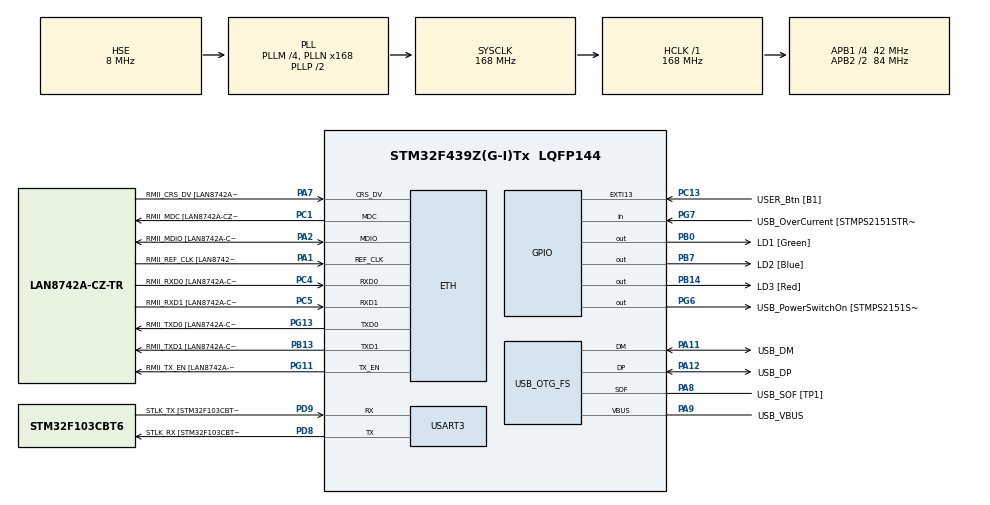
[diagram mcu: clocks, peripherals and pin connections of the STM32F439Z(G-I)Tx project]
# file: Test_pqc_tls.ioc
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ETH.MediaInterface=HAL_ETH_RMII_MODE
ETH.PHY_Name=LAN8742A_PHY_ADDRESS
ETH.PHY_Value=0
ETH.PhyAddress=0
FREERTOS.Tasks01=defaultTask,24,128,StartDefaultTask,Default,NULL,Dynamic,NULL,NULL;wolfCrypt,8,8960,wolfCryptDemo,As external,NULL,Dynamic,NULL,NULL
FREERTOS.configCHECK_FOR_STACK_OVERFLOW=2
FREERTOS.configTOTAL_HEAP_SIZE=120000
FREERTOS.configUSE_MALLOC_FAILED_HOOK=1
LWIP.LWIP_DHCP=1
LWIP.Version=v2.1.2_Cube
Mcu.Family=STM32F4
Mcu.Name=STM32F439Z(G-I)Tx
Mcu.Package=LQFP144
NVIC.ETH_IRQn=true\:5\:0\:false\:false\:true\:true\:false\:true\:true
NVIC.PriorityGroup=NVIC_PRIORITYGROUP_4
NVIC.TIM1_UP_TIM10_IRQn=true\:15\:0\:false\:false\:true\:false\:false\:true\:true
NVIC.TimeBase=TIM1_UP_TIM10_IRQn
NVIC.TimeBaseIP=TIM1
PA1.GPIO_Label=RMII_REF_CLK [LAN8742A-CZ-TR_REFCLK0]
PA1.Mode=RMII
PA1.Signal=ETH_REF_CLK
PA10.GPIO_Label=USB_ID
PA10.Signal=USB_OTG_FS_ID
PA11.GPIO_Label=USB_DM
PA11.Mode=Device_Only
PA11.Signal=USB_OTG_FS_DM
PA12.GPIO_Label=USB_DP
PA12.Mode=Device_Only
PA12.Signal=USB_OTG_FS_DP
PA13.GPIO_Label=TMS
PA13.Mode=Serial_Wire
PA13.Signal=SYS_JTMS-SWDIO
PA14.GPIO_Label=TCK
PA14.Mode=Serial_Wire
PA14.Signal=SYS_JTCK-SWCLK
PA2.GPIO_Label=RMII_MDIO [LAN8742A-CZ-TR_MDIO]
PA2.Mode=RMII
PA2.Signal=ETH_MDIO
PA7.GPIO_Label=RMII_CRS_DV [LAN8742A-CZ-TR_CRS_DV]
PA7.Mode=RMII
PA7.Signal=ETH_CRS_DV
PA8.GPIO_Label=USB_SOF [TP1]
PA8.Mode=Activate_SOF_FS
PA8.Signal=USB_OTG_FS_SOF
PA9.GPIO_Label=USB_VBUS
PA9.Mode=Activate_VBUS
PA9.Signal=USB_OTG_FS_VBUS
PB0.GPIO_Label=LD1 [Green]
PB0.Signal=GPIO_Output
PB13.GPIO_Label=RMII_TXD1 [LAN8742A-CZ-TR_TXD1]
PB13.Mode=RMII
PB13.Signal=ETH_TXD1
PB14.GPIO_Label=LD3 [Red]
PB14.Signal=GPIO_Output
PB7.GPIO_Label=LD2 [Blue]
PB7.Signal=GPIO_Output
PC1.GPIO_Label=RMII_MDC [LAN8742A-CZ-TR_MDC]
PC1.Mode=RMII
PC1.Signal=ETH_MDC
PC13.GPIO_Label=USER_Btn [B1]
PC13.Signal=GPXTI13
PC14/OSC32_IN.Mode=LSE-External-Oscillator
PC14/OSC32_IN.Signal=RCC_OSC32_IN
PC15/OSC32_OUT.Mode=LSE-External-Oscillator
PC15/OSC32_OUT.Signal=RCC_OSC32_OUT
PC4.GPIO_Label=RMII_RXD0 [LAN8742A-CZ-TR_RXD0]
PC4.Mode=RMII
PC4.Signal=ETH_RXD0
PC5.GPIO_Label=RMII_RXD1 [LAN8742A-CZ-TR_RXD1]
PC5.Mode=RMII
PC5.Signal=ETH_RXD1
PD8.GPIO_Label=STLK_RX [STM32F103CBT6_PA3]
PD8.Mode=Asynchronous
PD8.Signal=USART3_TX
PD9.GPIO_Label=STLK_TX [STM32F103CBT6_PA2]
PD9.Mode=Asynchronous
PD9.Signal=USART3_RX
PG11.GPIO_Label=RMII_TX_EN [LAN8742A-CZ-TR_TXEN]
PG11.Mode=RMII
PG11.Signal=ETH_TX_EN
PG13.GPIO_Label=RMII_TXD0 [LAN8742A-CZ-TR_TXD0]
PG13.Mode=RMII
PG13.Signal=ETH_TXD0
PG6.GPIO_Label=USB_PowerSwitchOn [STMPS2151STR_EN]
PG6.Signal=GPIO_Output
PG7.GPIO_Label=USB_OverCurrent [STMPS2151STR_FAULT]
PG7.Signal=GPIO_Input
PH0/OSC_IN.GPIO_Label=MCO [STM32F103CBT6_PA8]
PH0/OSC_IN.Mode=HSE-External-Clock-Source
PH0/OSC_IN.Signal=RCC_OSC_IN
PH1/OSC_OUT.Mode=HSE-External-Clock-Source
PH1/OSC_OUT.Signal=RCC_OSC_OUT
ProjectManager.HeapSize=0x200
ProjectManager.StackSize=0x400
ProjectManager.TargetToolchain=CMake
RCC.48MHZClocksFreq_Value=48000000
RCC.AHBFreq_Value=168000000
RCC.APB1CLKDivider=RCC_HCLK_DIV4
RCC.APB1Freq_Value=42000000
RCC.APB1TimFreq_Value=84000000
RCC.APB2CLKDivider=RCC_HCLK_DIV2
RCC.APB2Freq_Value=84000000
RCC.APB2TimFreq_Value=168000000
RCC.CortexFreq_Value=168000000
RCC.HCLKFreq_Value=168000000
RCC.HSE_VALUE=8000000
RCC.HSI_VALUE=16000000
RCC.PLLM=4
RCC.PLLMUL=RCC_PLL_MUL9
RCC.PLLN=168
RCC.PLLQ=7
RCC.PRESCALERUSB=RCC_USBCLKSOURCE_PLL_DIV1_5
RCC.SYSCLKFreq_VALUE=168000000
RCC.SYSCLKSource=RCC_SYSCLKSOURCE_PLLCLK
RCC.SYSCLKSourceVirtual=RCC_SYSCLKSOURCE_PLLCLK
RCC.USBFreq_Value=48000000
RCC.VCOOutputFreq_Value=336000000
USART3.VirtualMode=VM_ASYNC
USB_OTG_FS.VirtualMode=Device_Only
VP_CRYP_VS_CRYP.Mode=CRYP_Activate
VP_FREERTOS_VS_CMSIS_V2.Mode=CMSIS_V2
VP_HASH_VS_HASH.Mode=HASH_Activate
VP_LWIP_VS_Enabled.Mode=Enabled
VP_RNG_VS_RNG.Mode=RNG_Activate
VP_RTC_VS_RTC_Activate.Mode=RTC_Enabled
VP_SYS_VS_tim1.Mode=TIM1
VP_wolfSSL.I-CUBE-wolfSSL_VS_wolfSSLJjwolfSSL_5.8.4_5.8.4.Mode=wolfSSLJjwolfSSL
board=NUCLEO-F439ZI
wolfSSL.I-CUBE-wolfSSL.5.8.4.WOLF_CONF_MATH=7
wolfSSL.I-CUBE-wolfSSL.5.8.4.WOLF_CONF_RTOS=2
wolfSSL.I-CUBE-wolfSSL.5.8.4.wolfSSLCcwolfSSLJjwolfCryptJjCore=true
wolfSSL.I-CUBE-wolfSSL.5.8.4.wolfSSLCcwolfSSLJjwolfCryptJjTest=true
wolfSSL.I-CUBE-wolfSSL.5.8.4.wolfSSLCcwolfSSLJjwolfSSLJjCore=true

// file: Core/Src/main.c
/* USER CODE BEGIN Header */
/**
  ******************************************************************************
  * @file           : main.c
  * @brief          : Main program body
  ******************************************************************************
  * @attention
  *
  * Copyright (c) 2026 STMicroelectronics.
  * All rights reserved.
  *
  * This software is licensed under terms that can be found in the LICENSE file
  * in the root directory of this software component.
  * If no LICENSE file comes with this software, it is provided AS-IS.
  *
  ******************************************************************************
  */
/* USER CODE END Header */
#include "main.h"
#include "cmsis_os.h"
#include "lwip.h"

/* USER CODE BEGIN Includes */
#include <stdio.h>
#include "lwip.h"
#include "lwip/netif.h"
#include "tls_client.h"
extern struct netif gnetif;
/* USER CODE END Includes */

CRYP_HandleTypeDef hcryp;
__ALIGN_BEGIN static const uint32_t pKeyCRYP[6] __ALIGN_END = {
                            0x00000000,0x00000000,0x00000000,0x00000000,0x00000000,0x00000000};

HASH_HandleTypeDef hhash;

RNG_HandleTypeDef hrng;

RTC_HandleTypeDef hrtc;

UART_HandleTypeDef huart3;

PCD_HandleTypeDef hpcd_USB_OTG_FS;

/* Definitions for defaultTask */
osThreadId_t defaultTaskHandle;
const osThreadAttr_t defaultTask_attributes = {
  .name = "defaultTask",
  .stack_size = 1024 * 4,
  .priority = (osPriority_t) osPriorityNormal,
};
/* Definitions for wolfCrypt */
osThreadId_t wolfCryptHandle;
const osThreadAttr_t wolfCrypt_attributes = {
  .name = "wolfCrypt",
  .stack_size = 8960 * 4,
  .priority = (osPriority_t) osPriorityLow,
};
/* Definitions for tlsPerf */
osThreadId_t tlsPerfHandle;
const osThreadAttr_t tlsPerf_attributes = {
  .name = "tlsPerf",
  /* 20 KB — Falcon verify was overflowing this (8.5KB stack arrays +
   * wolfSSL frames), fixed by moving its arrays to heap in falcon.c.
   * Keeping 20KB preserves heap budget for SPHINCS+ L5 verify (~60KB). */
  .stack_size = 5120 * 4,
  .priority = (osPriority_t) osPriorityBelowNormal,
};
/* Definitions for certBench — shares same stack budget as tlsPerf */
osThreadId_t certBenchHandle;
const osThreadAttr_t certBench_attributes = {
  .name = "certBench",
  .stack_size = 4096 * 4,
  .priority = (osPriority_t) osPriorityBelowNormal,
};
/* USER CODE BEGIN PV */
/* Retargets the C library printf function to the USART */
int __io_putchar(int ch)
{
    if (ch == '\n') {
        uint8_t cr = '\r';
        HAL_UART_Transmit(&huart3, &cr, 1, 0xFFFF);
    }
    HAL_UART_Transmit(&huart3, (uint8_t *)&ch, 1, 0xFFFF);
    return ch;
}

int __io_getchar(void)
{
    uint8_t ch;
    HAL_UART_Receive(&huart3, &ch, 1, HAL_MAX_DELAY);
    return ch;
}
/* USER CODE END PV */

void SystemClock_Config(void);
static void MX_GPIO_Init(void);
static void MX_RTC_Init(void);
static void MX_USART3_UART_Init(void);
static void MX_USB_OTG_FS_PCD_Init(void);
static void MX_CRYP_Init(void);
static void MX_HASH_Init(void);
static void MX_RNG_Init(void);
void StartDefaultTask(void *argument);
extern void wolfCryptDemo(void *argument);
extern void cert_bench_task(void *argument);

int main(void)
{

  /* MCU Configuration--------------------------------------------------------*/

  /* Reset of all peripherals, Initializes the Flash interface and the Systick. */
  HAL_Init();

  /* USER CODE BEGIN Init */
  setvbuf(stdin,  NULL, _IONBF, 0);
  setvbuf(stdout, NULL, _IONBF, 0);
  setvbuf(stderr, NULL, _IONBF, 0);
  /* USER CODE END Init */

  /* Configure the system clock */
  SystemClock_Config();

  /* Initialize all configured peripherals */
  MX_GPIO_Init();
  MX_RTC_Init();
  MX_USART3_UART_Init();
  MX_USB_OTG_FS_PCD_Init();
  MX_CRYP_Init();
  MX_HASH_Init();
  MX_RNG_Init();

  /* Init scheduler */
  osKernelInitialize();

  /* Create the thread(s) */
  /* creation of defaultTask */
  defaultTaskHandle = osThreadNew(StartDefaultTask, NULL, &defaultTask_attributes);

  /* wolfCryptDemo disabled – its 35 KB stack was consuming heap needed
   * for Dilithium (~30 KB) verification buffers. */
  // wolfCryptHandle = osThreadNew(wolfCryptDemo, NULL, &wolfCrypt_attributes);

  /* ── Mode selection: run ONE of the two tasks below ──
   *   TLS benchmark (measure_stm32.sh):
   *     enable  tlsPerf   / disable certBench
   *   Cert benchmark (measure_cert_bench.sh):
   *     disable tlsPerf   / enable  certBench
   */
  /* creation of tlsPerf – TLS handshake benchmark */
  tlsPerfHandle = osThreadNew(tls_perf_task, NULL, &tlsPerf_attributes);

  /* creation of certBench – cert size / ECDSA / ML-DSA benchmark */
  // certBenchHandle = osThreadNew(cert_bench_task, NULL, &certBench_attributes);

  /* Start scheduler */
  osKernelStart();

  /* We should never get here as control is now taken by the scheduler */

  /* Infinite loop */
  while (1)
  {

  }
}

void SystemClock_Config(void)
{
  RCC_OscInitTypeDef RCC_OscInitStruct = {0};
  RCC_ClkInitTypeDef RCC_ClkInitStruct = {0};

  /** Configure the main internal regulator output voltage
  */
  __HAL_RCC_PWR_CLK_ENABLE();
  __HAL_PWR_VOLTAGESCALING_CONFIG(PWR_REGULATOR_VOLTAGE_SCALE1);

  /** Initializes the RCC Oscillators according to the specified parameters
  * in the RCC_OscInitTypeDef structure.
  */
  RCC_OscInitStruct.OscillatorType = RCC_OSCILLATORTYPE_LSI|RCC_OSCILLATORTYPE_HSE;
  RCC_OscInitStruct.HSEState = RCC_HSE_BYPASS;
  RCC_OscInitStruct.LSIState = RCC_LSI_ON;
  RCC_OscInitStruct.PLL.PLLState = RCC_PLL_ON;
  RCC_OscInitStruct.PLL.PLLSource = RCC_PLLSOURCE_HSE;
  RCC_OscInitStruct.PLL.PLLM = 4;
  RCC_OscInitStruct.PLL.PLLN = 168;
  RCC_OscInitStruct.PLL.PLLP = RCC_PLLP_DIV2;
  RCC_OscInitStruct.PLL.PLLQ = 7;
  if (HAL_RCC_OscConfig(&RCC_OscInitStruct) != HAL_OK)
  {
    Error_Handler();
  }

  /** Initializes the CPU, AHB and APB buses clocks
  */
  RCC_ClkInitStruct.ClockType = RCC_CLOCKTYPE_HCLK|RCC_CLOCKTYPE_SYSCLK
                              |RCC_CLOCKTYPE_PCLK1|RCC_CLOCKTYPE_PCLK2;
  RCC_ClkInitStruct.SYSCLKSource = RCC_SYSCLKSOURCE_PLLCLK;
  RCC_ClkInitStruct.AHBCLKDivider = RCC_SYSCLK_DIV1;
  RCC_ClkInitStruct.APB1CLKDivider = RCC_HCLK_DIV4;
  RCC_ClkInitStruct.APB2CLKDivider = RCC_HCLK_DIV2;

  if (HAL_RCC_ClockConfig(&RCC_ClkInitStruct, FLASH_LATENCY_5) != HAL_OK)
  {
    Error_Handler();
  }
}

static void MX_CRYP_Init(void)
{

  hcryp.Instance = CRYP;
  hcryp.Init.DataType = CRYP_DATATYPE_32B;
  hcryp.Init.pKey = (uint32_t *)pKeyCRYP;
  hcryp.Init.Algorithm = CRYP_TDES_ECB;
  hcryp.Init.DataWidthUnit = CRYP_DATAWIDTHUNIT_WORD;
  if (HAL_CRYP_Init(&hcryp) != HAL_OK)
  {
    Error_Handler();
  }

}

static void MX_HASH_Init(void)
{

  hhash.Init.DataType = HASH_DATATYPE_32B;
  if (HAL_HASH_Init(&hhash) != HAL_OK)
  {
    Error_Handler();
  }

}

static void MX_RNG_Init(void)
{

  hrng.Instance = RNG;
  if (HAL_RNG_Init(&hrng) != HAL_OK)
  {
    Error_Handler();
  }

}

static void MX_RTC_Init(void)
{

  /** Initialize RTC Only
  */
  hrtc.Instance = RTC;
  hrtc.Init.HourFormat = RTC_HOURFORMAT_24;
  hrtc.Init.AsynchPrediv = 127;
  hrtc.Init.SynchPrediv = 255;
  hrtc.Init.OutPut = RTC_OUTPUT_DISABLE;
  hrtc.Init.OutPutPolarity = RTC_OUTPUT_POLARITY_HIGH;
  hrtc.Init.OutPutType = RTC_OUTPUT_TYPE_OPENDRAIN;
  if (HAL_RTC_Init(&hrtc) != HAL_OK)
  {
    Error_Handler();
  }

}

static void MX_USART3_UART_Init(void)
{

  huart3.Instance = USART3;
  huart3.Init.BaudRate = 115200;
  huart3.Init.WordLength = UART_WORDLENGTH_8B;
  huart3.Init.StopBits = UART_STOPBITS_1;
  huart3.Init.Parity = UART_PARITY_NONE;
  huart3.Init.Mode = UART_MODE_TX_RX;
  huart3.Init.HwFlowCtl = UART_HWCONTROL_NONE;
  huart3.Init.OverSampling = UART_OVERSAMPLING_16;
  if (HAL_UART_Init(&huart3) != HAL_OK)
  {
    Error_Handler();
  }

}

static void MX_USB_OTG_FS_PCD_Init(void)
{

  hpcd_USB_OTG_FS.Instance = USB_OTG_FS;
  hpcd_USB_OTG_FS.Init.dev_endpoints = 4;
  hpcd_USB_OTG_FS.Init.speed = PCD_SPEED_FULL;
  hpcd_USB_OTG_FS.Init.dma_enable = DISABLE;
  hpcd_USB_OTG_FS.Init.phy_itface = PCD_PHY_EMBEDDED;
  hpcd_USB_OTG_FS.Init.Sof_enable = ENABLE;
  hpcd_USB_OTG_FS.Init.low_power_enable = DISABLE;
  hpcd_USB_OTG_FS.Init.lpm_enable = DISABLE;
  hpcd_USB_OTG_FS.Init.vbus_sensing_enable = ENABLE;
  hpcd_USB_OTG_FS.Init.use_dedicated_ep1 = DISABLE;
  if (HAL_PCD_Init(&hpcd_USB_OTG_FS) != HAL_OK)
  {
    Error_Handler();
  }

}

static void MX_GPIO_Init(void)
{
  GPIO_InitTypeDef GPIO_InitStruct = {0};

  /* GPIO Ports Clock Enable */
  __HAL_RCC_GPIOC_CLK_ENABLE();
  __HAL_RCC_GPIOH_CLK_ENABLE();
  __HAL_RCC_GPIOA_CLK_ENABLE();
  __HAL_RCC_GPIOB_CLK_ENABLE();
  __HAL_RCC_GPIOD_CLK_ENABLE();
  __HAL_RCC_GPIOG_CLK_ENABLE();

  /*Configure GPIO pin Output Level */
  HAL_GPIO_WritePin(GPIOB, LD1_Pin|LD3_Pin|LD2_Pin, GPIO_PIN_RESET);

  /*Configure GPIO pin Output Level */
  HAL_GPIO_WritePin(USB_PowerSwitchOn_GPIO_Port, USB_PowerSwitchOn_Pin, GPIO_PIN_RESET);

  /*Configure GPIO pin : USER_Btn_Pin */
  GPIO_InitStruct.Pin = USER_Btn_Pin;
  GPIO_InitStruct.Mode = GPIO_MODE_IT_RISING;
  GPIO_InitStruct.Pull = GPIO_NOPULL;
  HAL_GPIO_Init(USER_Btn_GPIO_Port, &GPIO_InitStruct);

  /*Configure GPIO pins : LD1_Pin LD3_Pin LD2_Pin */
  GPIO_InitStruct.Pin = LD1_Pin|LD3_Pin|LD2_Pin;
  GPIO_InitStruct.Mode = GPIO_MODE_OUTPUT_PP;
  GPIO_InitStruct.Pull = GPIO_NOPULL;
  GPIO_InitStruct.Speed = GPIO_SPEED_FREQ_LOW;
  HAL_GPIO_Init(GPIOB, &GPIO_InitStruct);

  /*Configure GPIO pin : USB_PowerSwitchOn_Pin */
  GPIO_InitStruct.Pin = USB_PowerSwitchOn_Pin;
  GPIO_InitStruct.Mode = GPIO_MODE_OUTPUT_PP;
  GPIO_InitStruct.Pull = GPIO_NOPULL;
  GPIO_InitStruct.Speed = GPIO_SPEED_FREQ_LOW;
  HAL_GPIO_Init(USB_PowerSwitchOn_GPIO_Port, &GPIO_InitStruct);

  /*Configure GPIO pin : USB_OverCurrent_Pin */
  GPIO_InitStruct.Pin = USB_OverCurrent_Pin;
  GPIO_InitStruct.Mode = GPIO_MODE_INPUT;
  GPIO_InitStruct.Pull = GPIO_NOPULL;
  HAL_GPIO_Init(USB_OverCurrent_GPIO_Port, &GPIO_InitStruct);

}

void StartDefaultTask(void *argument)
{
  /* init code for LWIP */
  printf("lwIP init starting...\n");
  MX_LWIP_Init();
  printf("lwIP init done, waiting for DHCP...\n");
  /* USER CODE BEGIN 5 */

  /* Wait for DHCP IP assignment (max 60s) */
  uint32_t timeout = 600;
  uint32_t status_tick = 0;
  while (gnetif.ip_addr.addr == 0 && timeout-- > 0) {
    osDelay(100);
    if (++status_tick % 50 == 0) {  /* every 5 seconds */
      printf("[MAIN] Waiting DHCP... flags=0x%02X link=%s\n",
             gnetif.flags,
             netif_is_link_up(&gnetif) ? "UP" : "DOWN");
    }
  }
  if (gnetif.ip_addr.addr != 0) {
    printf("IP Address: %lu.%lu.%lu.%lu\n",
        (gnetif.ip_addr.addr) & 0xFF,
        (gnetif.ip_addr.addr >> 8) & 0xFF,
        (gnetif.ip_addr.addr >> 16) & 0xFF,
        (gnetif.ip_addr.addr >> 24) & 0xFF);
  } else {
    printf("DHCP timeout - flags=0x%02X link=%s\n",
           gnetif.flags,
           netif_is_link_up(&gnetif) ? "UP" : "DOWN");
  }

  /* Infinite loop */
  for(;;)
  {
    osDelay(1);
  }
  /* USER CODE END 5 */
}

void HAL_TIM_PeriodElapsedCallback(TIM_HandleTypeDef *htim)
{
  if (htim->Instance == TIM1)
  {
    HAL_IncTick();
  }
}

void Error_Handler(void)
{
  __disable_irq();
  while (1)
  {
  }
}

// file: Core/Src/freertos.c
/* USER CODE BEGIN Header */
/**
  ******************************************************************************
  * File Name          : freertos.c
  * Description        : Code for freertos applications
  ******************************************************************************
  * @attention
  *
  * Copyright (c) 2026 STMicroelectronics.
  * All rights reserved.
  *
  * This software is licensed under terms that can be found in the LICENSE file
  * in the root directory of this software component.
  * If no LICENSE file comes with this software, it is provided AS-IS.
  *
  ******************************************************************************
  */
/* USER CODE END Header */

#include "FreeRTOS.h"
#include "task.h"
#include "main.h"

/* Hook prototypes */
void vApplicationStackOverflowHook(xTaskHandle xTask, signed char *pcTaskName);
void vApplicationMallocFailedHook(void);

/* USER CODE BEGIN 4 */
void vApplicationStackOverflowHook(xTaskHandle xTask, signed char *pcTaskName)
{
   extern int printf(const char *, ...);
   (void)xTask;
   printf("\n[PANIC] Stack overflow in task '%s'\n",
          pcTaskName ? (const char *)pcTaskName : "?");
}
/* USER CODE END 4 */

/* USER CODE BEGIN 5 */
void vApplicationMallocFailedHook(void)
{
   extern int printf(const char *, ...);
   extern size_t xPortGetFreeHeapSize(void);
   extern size_t xPortGetMinimumEverFreeHeapSize(void);
   printf("\n[PANIC] pvPortMalloc failed  free=%u min_ever=%u\n",
          (unsigned)xPortGetFreeHeapSize(),
          (unsigned)xPortGetMinimumEverFreeHeapSize());
}
/* USER CODE END 5 */
